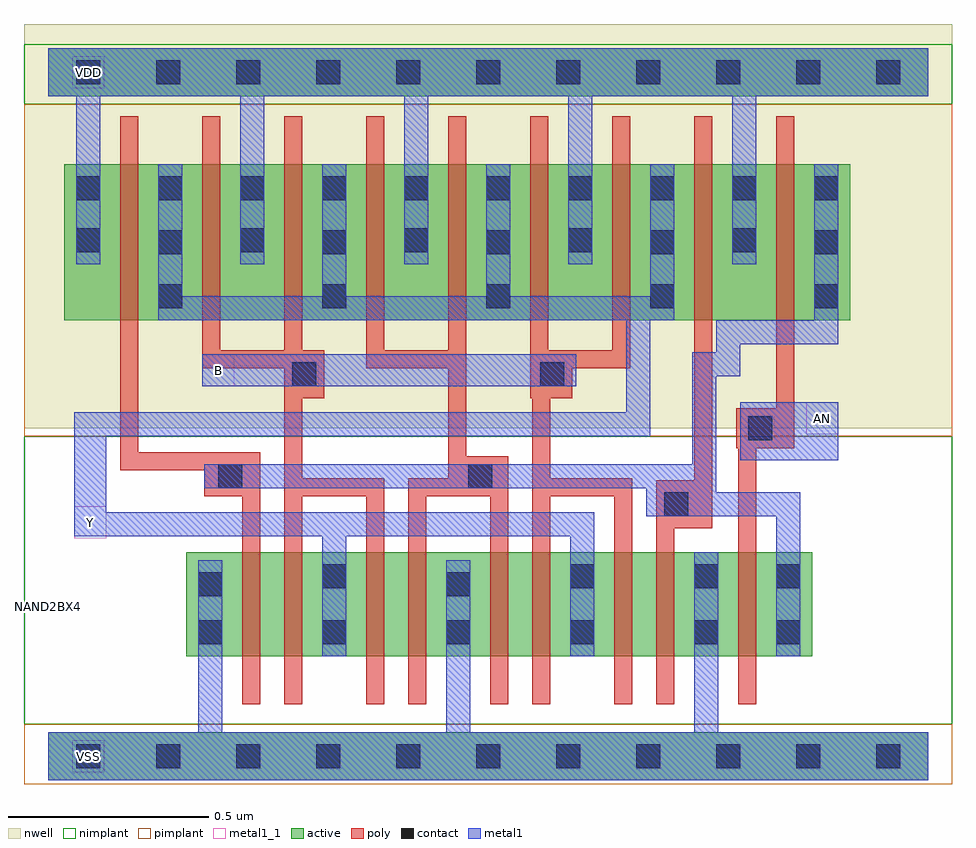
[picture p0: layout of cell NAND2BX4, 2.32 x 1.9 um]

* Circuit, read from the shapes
.subckt NAND2BX4 AN B VDD VSS Y
M1 n1 n2 VSS VSS nfet w=0.26u l=0.045u
M2 Y B n1 VSS nfet w=0.26u l=0.045u
M3 n3 B Y VSS nfet w=0.26u l=0.045u
M4 VSS n2 n3 VSS nfet w=0.26u l=0.045u
M5 n4 n2 VSS VSS nfet w=0.26u l=0.045u
M6 Y B n4 VSS nfet w=0.26u l=0.045u
M7 n5 B Y VSS nfet w=0.26u l=0.045u
M8 VSS n2 n5 VSS nfet w=0.26u l=0.045u
M9 n2 AN VSS VSS nfet w=0.26u l=0.045u
M10 Y n2 VDD VDD pfet w=0.39u l=0.045u m=4
M11 VDD B Y VDD pfet w=0.39u l=0.045u m=4
M12 n2 AN VDD VDD pfet w=0.39u l=0.045u
.ends

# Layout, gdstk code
import gdstk
lib = gdstk.Library(unit=1e-6, precision=5e-10)
def R(c, l, rs):  # rectangles x0, y0, x1, y1
    for r in rs: c.add(gdstk.rectangle(r[:2], r[2:], *l))
def A(c, l, x, y, w, h, nx, ny, dx, dy):  # array of equal rectangles
    R(c, l, [(x+i*dx, y+j*dy, x+i*dx+w, y+j*dy+h) for i in range(nx) for j in range(ny)])
def P(c, l, *ps):  # polygons
    for p in ps: c.add(gdstk.Polygon(p, *l))
active = (1, 0)
nwell = (2, 0)
poly = (3, 0)
nimplant = (4, 0)
pimplant = (5, 0)
contact = (6, 0)
metal1 = (7, 0)
metal1_1 = (7, 1)

nand2bx4 = lib.new_cell('NAND2BX4')
R(nand2bx4, active, [(0,-0.06,2.2,0.06), (0.345,0.25,1.91,0.51), (0.04,1.09,2.005,1.48), (0,1.65,2.2,1.77)])
R(nand2bx4, nwell, [(-0.06,0.82,2.26,1.83)])
P(nand2bx4, poly, [(1.46,0.695),(1.255,0.695),(1.255,0.895),(1.31,0.895),(1.31,0.97),(1.455,0.97),(1.455,1.6),(1.41,1.6),(1.41,1.015),(1.25,1.015),(1.25,1.6),(1.205,1.6),(1.205,0.895),(1.21,0.895),(1.21,0.13),(1.255,0.13),(1.255,0.65),(1.415,0.65),(1.415,0.13),(1.46,0.13)],
  [(1.865,1.6),(1.82,1.6),(1.82,0.87),(1.72,0.87),(1.72,0.77),(1.725,0.77),(1.725,0.13),(1.77,0.13),(1.77,0.77),(1.865,0.77)],
  [(1.15,0.75),(1.045,0.75),(1.045,1.6),(1,1.6),(1,1.015),(0.84,1.015),(0.84,1.6),(0.795,1.6),(0.795,0.97),(1,0.97),(1,0.695),(0.9,0.695),(0.9,0.13),(0.945,0.13),(0.945,0.65),(1.105,0.65),(1.105,0.13),(1.15,0.13)],
  [(1.66,1.6),(1.615,1.6),(1.615,0.69),(1.52,0.69),(1.52,0.13),(1.565,0.13),(1.565,0.57),(1.66,0.57)],
  [(0.84,0.695),(0.635,0.695),(0.635,0.895),(0.69,0.895),(0.69,1.015),(0.635,1.015),(0.635,1.6),(0.59,1.6),(0.59,1.015),(0.43,1.015),(0.43,1.6),(0.385,1.6),(0.385,0.97),(0.59,0.97),(0.59,0.13),(0.635,0.13),(0.635,0.65),(0.795,0.65),(0.795,0.13),(0.84,0.13)],
  [(0.53,0.76),(0.225,0.76),(0.225,1.6),(0.18,1.6),(0.18,0.715),(0.39,0.715),(0.39,0.65),(0.485,0.65),(0.485,0.13),(0.53,0.13)])
R(nand2bx4, nimplant, [(-0.06,0.08,2.26,0.8), (-0.06,1.63,2.26,1.78)])
R(nand2bx4, pimplant, [(-0.06,-0.07,2.26,0.08), (-0.06,0.8,2.26,1.63)])
A(nand2bx4, contact, 0.07, -0.03, 0.06, 0.06, 11, 2, 0.2, 1.71)
A(nand2bx4, contact, 0.375, 0.28, 0.06, 0.06, 5, 1, 0.31, 0)
A(nand2bx4, contact, 0.275, 1.12, 0.06, 0.06, 5, 2, 0.41, 0.135)
A(nand2bx4, contact, 0.07, 1.26, 0.06, 0.06, 5, 1, 0.41, 0)
A(nand2bx4, contact, 0.07, 1.39, 0.06, 0.06, 10, 1, 0.205, 0)
R(nand2bx4, contact, [(1.82,0.28,1.88,0.34), (0.375,0.4,0.435,0.46), (0.995,0.4,1.055,0.46), (0.685,0.42,0.745,0.48), (1.305,0.42,1.365,0.48), (1.615,0.42,1.675,0.48), (1.82,0.42,1.88,0.48), (1.54,0.6,1.6,0.66), (0.425,0.67,0.485,0.73), (1.05,0.67,1.11,0.73), (1.75,0.79,1.81,0.85), (0.61,0.925,0.67,0.985), (1.23,0.925,1.29,0.985)])
R(nand2bx4, metal1, [(1.73,0.74,1.975,0.885), (0.385,0.925,1.32,1.005)])
P(nand2bx4, metal1, [(2.2,0.06),(1.675,0.06),(1.675,0.51),(1.615,0.51),(1.615,0.06),(1.055,0.06),(1.055,0.49),(0.995,0.49),(0.995,0.06),(0.435,0.06),(0.435,0.49),(0.375,0.49),(0.375,0.06),(0,0.06),(0,-0.06),(2.2,-0.06)],
  [(2.2,1.77),(0,1.77),(0,1.65),(0.07,1.65),(0.07,1.23),(0.13,1.23),(0.13,1.65),(0.48,1.65),(0.48,1.23),(0.54,1.23),(0.54,1.65),(0.89,1.65),(0.89,1.23),(0.95,1.23),(0.95,1.65),(1.3,1.65),(1.3,1.23),(1.36,1.23),(1.36,1.65),(1.71,1.65),(1.71,1.23),(1.77,1.23),(1.77,1.65),(2.2,1.65)],
  [(1.975,1.48),(1.915,1.48),(1.915,1.09),(1.67,1.09),(1.67,1.01),(1.61,1.01),(1.61,0.73),(0.39,0.73),(0.39,0.67),(1.495,0.67),(1.495,0.6),(1.82,0.6),(1.82,0.25),(1.88,0.25),(1.88,0.66),(1.67,0.66),(1.67,0.95),(1.73,0.95),(1.73,1.03),(1.975,1.03)],
  [(1.565,1.48),(1.505,1.48),(1.505,1.15),(1.155,1.15),(1.155,1.48),(1.095,1.48),(1.095,1.15),(0.745,1.15),(0.745,1.48),(0.685,1.48),(0.685,1.15),(0.335,1.15),(0.335,1.48),(0.275,1.48),(0.275,1.09),(1.445,1.09),(1.445,0.86),(0.065,0.86),(0.065,0.55),(0.685,0.55),(0.685,0.25),(0.745,0.25),(0.745,0.55),(1.305,0.55),(1.305,0.25),(1.365,0.25),(1.365,0.61),(0.145,0.61),(0.145,0.8),(1.505,0.8),(1.505,1.09),(1.565,1.09)])
R(nand2bx4, metal1_1, [(0.06,-0.04,0.14,0.04), (0.065,0.545,0.145,0.625), (1.895,0.805,1.975,0.885), (0.385,0.925,0.465,1.005), (0.06,1.67,0.14,1.75)])
nand2bx4.add(gdstk.Label('AN', (1.935,0.845), layer=7, texttype=1))
nand2bx4.add(gdstk.Label('Y', (0.105,0.585), layer=7, texttype=1))
nand2bx4.add(gdstk.Label('B', (0.425,0.965), layer=7, texttype=1))
nand2bx4.add(gdstk.Label('VDD', (0.1,1.71), layer=7, texttype=1))
nand2bx4.add(gdstk.Label('VSS', (0.1,0), layer=7, texttype=1))
nand2bx4.add(gdstk.Label('NAND2BX4', (0,0.375), layer=63, texttype=0))

lib.write_gds('NAND2BX4.gds')
